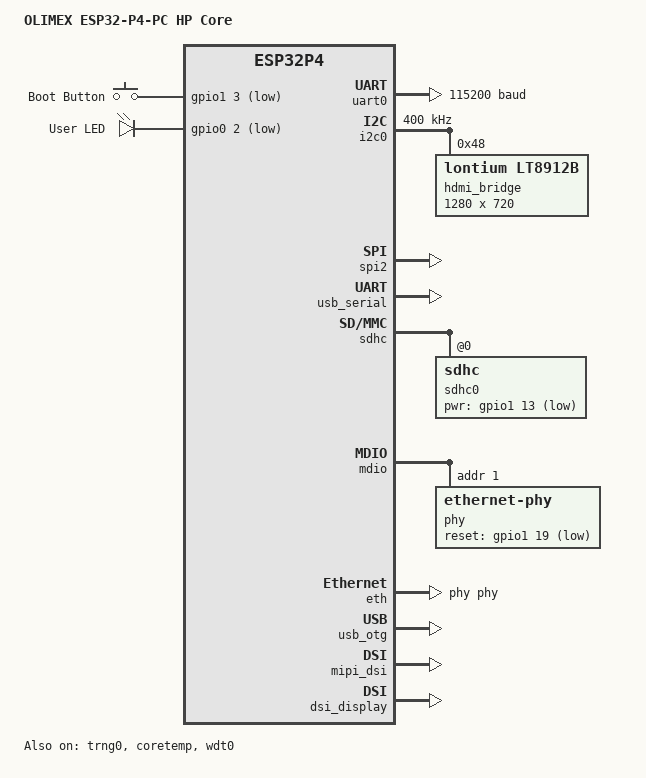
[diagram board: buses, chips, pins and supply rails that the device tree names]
/*
 * SPDX-FileCopyrightText: Copyright The Zephyr Project Contributors
 *
 * SPDX-License-Identifier: Apache-2.0
 */

/dts-v1/;

#include <espressif/esp32p4/esp32p4_n16r32.dtsi>
#include "esp32p4_pc_esp32p4_hpcore-pinctrl.dtsi"
#include <zephyr/dt-bindings/input/input-event-codes.h>
#include <zephyr/dt-bindings/display/panel.h>
#include <espressif/partitions_0x2000_default_16M.dtsi>

/ {
	model = "OLIMEX ESP32-P4-PC HP Core";
	compatible = "espressif,esp32p4";

	chosen {
		zephyr,sram = &sramhp;
		zephyr,console = &usb_serial;
		zephyr,shell-uart = &usb_serial;
		zephyr,flash = &flash0;
		zephyr,code-partition = &slot0_partition;
		zephyr,display = &dsi_display;
	};

	aliases {
		led0 = &user_led;
		sw0 = &boot_button;
		watchdog0 = &wdt0;
		sdhc0 = &sdhc0;
	};

	gpio_keys {
		compatible = "gpio-keys";

		boot_button: button {
			label = "Boot Button";
			gpios = <&gpio1 3 (GPIO_PULL_UP | GPIO_ACTIVE_LOW)>;
			zephyr,code = <INPUT_KEY_0>;
		};
	};

	leds {
		compatible = "gpio-leds";

		user_led: led0 {
			label = "User LED";
			gpios = <&gpio0 2 GPIO_ACTIVE_LOW>;
		};
	};
};

/*
 * This board carries pre-v3 (v1.3) ESP32-P4 silicon, whose valid CPU
 * frequencies are 90/180/360 MHz. Using a frequency outside that set
 * builds but fails at boot with "invalid CPU frequency".
 */
&cpu0 {
	clock-frequency = <DT_FREQ_M(360)>;
};

&cpu1 {
	clock-frequency = <DT_FREQ_M(360)>;
};

&uart0 {
	status = "okay";
	current-speed = <115200>;
	pinctrl-0 = <&uart0_default>;
	pinctrl-names = "default";
};

&trng0 {
	status = "okay";
};

&coretemp {
	status = "okay";
};

&i2c0 {
	status = "okay";
	clock-frequency = <I2C_BITRATE_FAST>;
	pinctrl-0 = <&i2c0_default>;
	pinctrl-names = "default";

	/* On-board MIPI DSI to HDMI bridge */
	hdmi_bridge: lt8912b@48 {
		compatible = "lontium,lt8912b";
		reg = <0x48>;
		mipi-dsi = <&mipi_dsi>;
		data-lanes = <2>;
		width = <1280>;
		height = <720>;

		display-timings {
			compatible = "zephyr,panel-timing";
			/* Reduced-blanking 1280x720; together with the 60 MHz
			 * DPI clock (an exact divider of the 240 MHz source)
			 * this gives a clean ~56 Hz mode. PC monitors need
			 * >= ~50 Hz vertical; a TV also accepts 1920x1080
			 * at 30 Hz (80 MHz DPI clock, hfront-porch 401,
			 * vback-porch 8).
			 */
			hsync-len = <32>;
			hback-porch = <80>;
			hfront-porch = <48>;
			vsync-len = <5>;
			vback-porch = <13>;
			vfront-porch = <3>;
			hsync-active = <1>;
			vsync-active = <0>;
			de-active = <1>;
			pixelclk-active = <0>;
		};
	};
};

&spi2 {
	#address-cells = <1>;
	#size-cells = <0>;
	status = "okay";
	pinctrl-0 = <&spim2_default>;
	pinctrl-names = "default";
};

&usb_serial {
	status = "okay";
};

&gpio0 {
	status = "okay";
};

&wdt0 {
	status = "okay";
};

&dma {
	status = "okay";
};

&dma_axi {
	status = "okay";
};

&ldo {
	status = "okay";

	ldo1@1 {
		regulator-init-microvolt = <3300000>;
		regulator-boot-on;
		regulator-always-on;
	};

	ldo2@2 {
		regulator-init-microvolt = <1800000>;
		regulator-boot-on;
		regulator-always-on;
	};

	/* VDD_MIPI D-PHY supply */
	ldo3@3 {
		regulator-init-microvolt = <2500000>;
		regulator-boot-on;
		regulator-always-on;
	};

	ldo4@4 {
		regulator-init-microvolt = <3300000>;
		regulator-boot-on;
		regulator-always-on;
	};
};

&sdhc {
	sdhc0: sdhc@0 {
		status = "okay";
		bus-width = <4>;
		max-bus-freq = <40000000>;
		clk-pin = <43>;
		cmd-pin = <44>;
		d0-pin = <39>;
		d1-pin = <40>;
		d2-pin = <41>;
		d3-pin = <42>;
		pwr-gpios = <&gpio1 13 GPIO_ACTIVE_LOW>;

		mmc {
			compatible = "zephyr,sdmmc-disk";
			disk-name = "SD";
			status = "okay";
		};
	};
};

&mdio {
	pinctrl-0 = <&mdio_default>;
	pinctrl-names = "default";
	status = "okay";

	phy: ethernet-phy@1 {
		compatible = "ethernet-phy";
		reg = <1>;
		reset-gpios = <&gpio1 19 GPIO_ACTIVE_LOW>;
		reset-assert-duration-us = <10000>;
		reset-deassertion-timeout-ms = <100>;
	};
};

&eth {
	status = "okay";
	phy-handle = <&phy>;
	pinctrl-0 = <&rmii_default>;
	pinctrl-names = "default";
};

zephyr_udc0: &usb_otg {
	status = "okay";
};

&mipi_dsi {
	status = "okay";
	phy-clock = <1000000000>;
	dpi-clock-frequency = <60000000>;
};

&dsi_display {
	status = "okay";
	/* The bridge consumes 24-bit pixels in B,G,R memory order */
	pixel-format = <PANEL_PIXEL_FORMAT_BGR_888>;
	width = <1280>;
	height = <720>;
};
